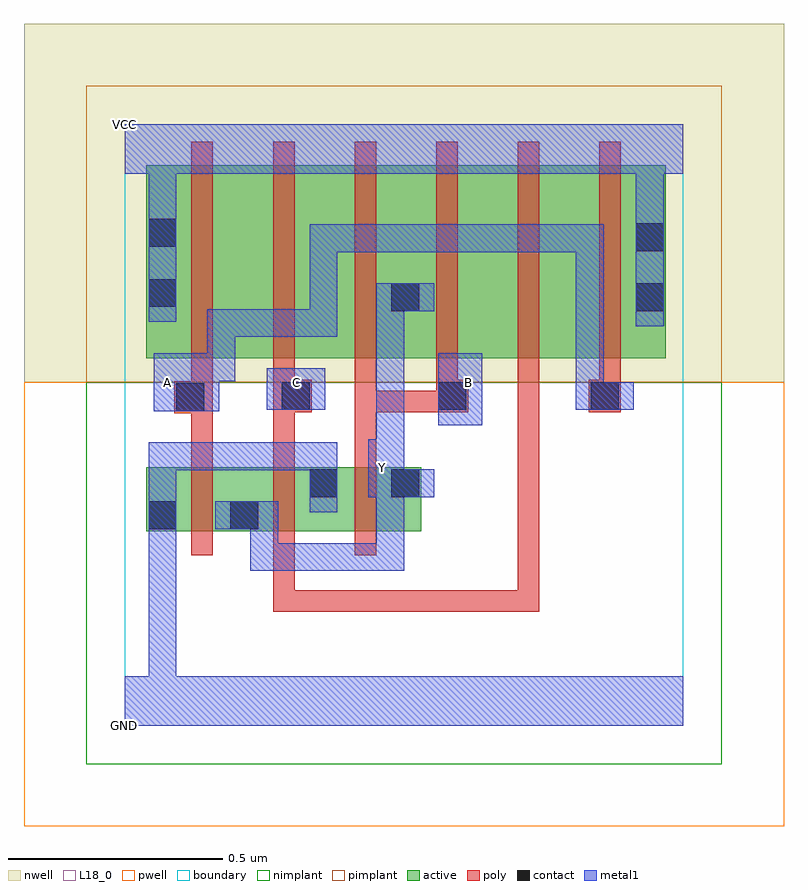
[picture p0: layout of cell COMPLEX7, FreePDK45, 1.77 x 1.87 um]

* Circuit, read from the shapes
.subckt COMPLEX7 A B C GND VCC Y
M1 Y A GND VSUBS nfet w=0.15u l=0.05u
M2 GND C Y VSUBS nfet w=0.15u l=0.05u
M3 Y B GND VSUBS nfet w=0.15u l=0.05u
M4 n1 A VCC n2 pfet w=0.45u l=0.05u
M5 n3 C n1 n2 pfet w=0.45u l=0.05u
M6 Y B n3 n2 pfet w=0.45u l=0.05u
M7 n4 B Y n2 pfet w=0.45u l=0.05u
M8 n5 C n4 n2 pfet w=0.45u l=0.05u
M9 VCC A n5 n2 pfet w=0.45u l=0.05u
.ends

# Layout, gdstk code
import gdstk
lib = gdstk.Library(unit=1e-6, precision=1e-09)
def R(c, l, rs):  # rectangles x0, y0, x1, y1
    for r in rs: c.add(gdstk.rectangle(r[:2], r[2:], *l))
def A(c, l, x, y, w, h, nx, ny, dx, dy):  # array of equal rectangles
    R(c, l, [(x+i*dx, y+j*dy, x+i*dx+w, y+j*dy+h) for i in range(nx) for j in range(ny)])
active = (1, 0)
pwell = (2, 0)
nwell = (3, 0)
nimplant = (4, 0)
pimplant = (5, 0)
poly = (9, 0)
contact = (10, 0)
metal1 = (11, 0)
L18_0 = (18, 0)
boundary = (235, 0)

complex7 = lib.new_cell('COMPLEX7')
R(complex7, active, [(0.05,0.452,0.315,0.602), (0.05,0.452,0.125,0.602), (0.24,0.452,0.5,0.602), (0.24,0.452,0.315,0.547), (0.425,0.452,0.69,0.602), (0.425,0.527,0.5,0.602), (0.615,0.527,0.69,0.602), (0.05,0.855,0.125,1.305), (0.05,0.855,0.275,1.305), (0.275,0.855,0.465,1.305), (0.465,0.855,0.69,1.305), (0.615,0.855,0.845,1.305), (0.845,0.855,1.035,1.305), (1.035,0.855,1.26,1.305), (1.185,0.855,1.26,1.305), (0.615,0.857,0.69,1.07)])
R(complex7, pwell, [(-0.235,-0.235,1.535,0.8)])
R(complex7, nwell, [(-0.235,0.8,1.535,1.635)])
R(complex7, nimplant, [(-0.09,-0.09,1.39,0.8)])
R(complex7, pimplant, [(-0.09,0.8,1.39,1.49)])
A(complex7, poly, 0.155, 0.397, 0.05, 0.26, 3, 1, 0.19, 0)
A(complex7, poly, 0.345, 0.755, 0.05, 0.095, 3, 1, 0.38, 0)
A(complex7, poly, 0.155, 0.8, 0.05, 0.56, 6, 1, 0.19, 0)
R(complex7, poly, [(0.345,0.265,0.395,0.315), (0.345,0.265,0.395,0.315), (0.345,0.265,0.395,0.315), (0.345,0.265,0.567,0.315), (0.345,0.265,0.395,0.447), (0.517,0.265,0.567,0.315), (0.517,0.265,0.567,0.315), (0.517,0.265,0.567,0.315), (0.517,0.265,0.832,0.315), (0.782,0.265,0.832,0.315), (0.782,0.265,0.832,0.315), (0.782,0.265,0.832,0.315), (0.782,0.265,0.965,0.315), (0.915,0.265,0.965,0.85), (0.915,0.265,0.965,0.315), (0.915,0.265,0.965,0.315), (0.915,0.265,0.965,0.315), (0.915,0.265,0.965,0.315), (0.915,0.265,0.965,0.315), (0.915,0.265,0.965,0.315), (0.915,0.265,0.965,0.315), (0.155,0.607,0.205,0.777), (0.345,0.607,0.395,0.78), (0.535,0.607,0.585,0.78), (0.115,0.727,0.205,0.802), (0.345,0.73,0.435,0.805), (0.535,0.73,0.585,0.78), (0.535,0.73,0.585,0.78), (0.535,0.73,0.585,0.78), (0.535,0.73,0.775,0.78), (0.535,0.73,0.585,0.85), (0.725,0.73,0.8,0.805), (1.08,0.73,1.155,0.805), (0.155,0.752,0.205,0.85)])
R(complex7, contact, [(0.055,0.457,0.12,0.522), (0.245,0.457,0.31,0.522), (0.43,0.532,0.495,0.597), (0.62,0.532,0.685,0.597), (0.12,0.732,0.185,0.797), (0.365,0.735,0.43,0.8), (0.73,0.735,0.795,0.8), (1.085,0.735,1.15,0.8), (0.62,0.965,0.685,1.03), (1.19,0.965,1.255,1.03), (0.055,0.975,0.12,1.04), (1.19,1.105,1.255,1.17), (0.055,1.115,0.12,1.18)])
R(complex7, metal1, [(0,0,1.3,0.115), (0.055,0.05,0.12,0.115), (0.055,0.05,0.12,0.115), (0.055,0.05,0.12,0.115), (0.055,0.05,0.12,0.115), (0.055,0.05,0.12,0.115), (0.055,0.05,0.12,0.115), (0.055,0.05,0.12,0.115), (0.055,0.05,0.12,0.115), (0.055,0.05,0.12,0.487), (0.292,0.36,0.482,0.425), (0.292,0.36,0.357,0.522), (0.417,0.36,0.482,0.425), (0.417,0.36,0.65,0.425), (0.585,0.36,0.65,0.425), (0.585,0.36,0.65,0.425), (0.585,0.36,0.65,0.425), (0.585,0.36,0.65,0.597), (0.055,0.422,0.12,0.557), (0.21,0.457,0.345,0.522), (0.28,0.457,0.357,0.522), (0.055,0.492,0.12,0.66), (0.43,0.497,0.495,0.66), (0.567,0.532,0.65,0.667), (0.585,0.532,0.65,0.597), (0.585,0.532,0.72,0.597), (0.055,0.595,0.12,0.66), (0.055,0.595,0.12,0.66), (0.055,0.595,0.12,0.66), (0.055,0.595,0.297,0.66), (0.232,0.595,0.297,0.66), (0.232,0.595,0.495,0.66), (0.43,0.595,0.495,0.66), (0.43,0.595,0.495,0.66), (0.585,0.602,0.65,1.03), (0.73,0.7,0.832,0.867), (0.067,0.732,0.22,0.867), (0.33,0.735,0.467,0.832), (1.05,0.735,1.115,0.8), (1.05,0.735,1.115,0.8), (1.05,0.735,1.185,0.8), (1.05,0.735,1.115,1.167), (0.155,0.802,0.257,0.867), (0.192,0.802,0.257,0.867), (0.192,0.802,0.257,0.97), (0.192,0.905,0.257,0.97), (0.192,0.905,0.495,0.97), (0.43,0.905,0.495,0.97), (0.43,0.905,0.495,0.97), (0.43,0.905,0.495,0.97), (0.43,0.905,0.495,1.167), (1.19,0.93,1.255,1.205), (0.055,0.94,0.12,1.215), (0.585,0.965,0.72,1.03), (0.43,1.102,0.495,1.167), (0.43,1.102,0.632,1.167), (0.567,1.102,0.632,1.167), (0.567,1.102,0.84,1.167), (0.775,1.102,0.84,1.167), (0.775,1.102,0.84,1.167), (0.775,1.102,0.84,1.167), (0.775,1.102,0.977,1.167), (0.912,1.102,0.977,1.167), (0.912,1.102,0.977,1.167), (0.912,1.102,0.977,1.167), (0.912,1.102,0.977,1.167), (0.912,1.102,0.977,1.167), (0.912,1.102,1.115,1.167), (1.05,1.102,1.115,1.167), (1.19,1.14,1.255,1.35), (0.055,1.15,0.12,1.35), (0,1.285,1.3,1.4)])
R(complex7, L18_0, [(0,0,1.3,0.115), (0.055,0.05,0.12,0.115), (0.055,0.05,0.12,0.115), (0.055,0.05,0.12,0.115), (0.055,0.05,0.12,0.115), (0.055,0.05,0.12,0.115), (0.055,0.05,0.12,0.115), (0.055,0.05,0.12,0.115), (0.055,0.05,0.12,0.115), (0.055,0.05,0.12,0.487), (0.292,0.36,0.357,0.522), (0.292,0.36,0.482,0.425), (0.417,0.36,0.482,0.425), (0.417,0.36,0.65,0.425), (0.585,0.36,0.65,0.425), (0.585,0.36,0.65,0.425), (0.585,0.36,0.65,0.425), (0.585,0.36,0.65,0.597), (0.055,0.422,0.12,0.557), (0.21,0.457,0.345,0.522), (0.28,0.457,0.357,0.522), (0.055,0.492,0.12,0.66), (0.43,0.497,0.495,0.66), (0.567,0.532,0.65,0.667), (0.585,0.532,0.65,0.597), (0.585,0.532,0.72,0.597), (0.567,0.567,0.632,0.632), (0.055,0.595,0.12,0.66), (0.055,0.595,0.12,0.66), (0.055,0.595,0.12,0.66), (0.055,0.595,0.297,0.66), (0.232,0.595,0.297,0.66), (0.232,0.595,0.495,0.66), (0.43,0.595,0.495,0.66), (0.43,0.595,0.495,0.66), (0.585,0.602,0.65,1.03), (0.73,0.7,0.832,0.867), (0.067,0.732,0.22,0.867), (0.33,0.735,0.467,0.832), (1.05,0.735,1.115,0.8), (1.05,0.735,1.115,0.8), (1.05,0.735,1.185,0.8), (1.05,0.735,1.115,1.167), (0.067,0.767,0.132,0.832), (0.367,0.767,0.432,0.832), (0.767,0.767,0.832,0.832), (0.155,0.802,0.257,0.867), (0.192,0.802,0.257,0.867), (0.192,0.802,0.257,0.97), (0.192,0.905,0.257,0.97), (0.192,0.905,0.495,0.97), (0.43,0.905,0.495,0.97), (0.43,0.905,0.495,0.97), (0.43,0.905,0.495,0.97), (0.43,0.905,0.495,1.167), (1.19,0.93,1.255,1.205), (0.055,0.94,0.12,1.215), (0.585,0.965,0.72,1.03), (0.43,1.102,0.495,1.167), (0.43,1.102,0.632,1.167), (0.567,1.102,0.632,1.167), (0.567,1.102,0.84,1.167), (0.775,1.102,0.84,1.167), (0.775,1.102,0.84,1.167), (0.775,1.102,0.84,1.167), (0.775,1.102,0.977,1.167), (0.912,1.102,0.977,1.167), (0.912,1.102,0.977,1.167), (0.912,1.102,0.977,1.167), (0.912,1.102,0.977,1.167), (0.912,1.102,0.977,1.167), (0.912,1.102,1.115,1.167), (1.05,1.102,1.115,1.167), (1.19,1.14,1.255,1.35), (0.055,1.15,0.12,1.35), (0,1.285,1.3,1.4)])
R(complex7, boundary, [(0,0,1.3,1.4)])
complex7.add(gdstk.Label('A', (0.1,0.8), layer=11, texttype=0))
complex7.add(gdstk.Label('B', (0.8,0.8), layer=11, texttype=0))
complex7.add(gdstk.Label('C', (0.4,0.8), layer=11, texttype=0))
complex7.add(gdstk.Label('Y', (0.6,0.6), layer=11, texttype=0))
complex7.add(gdstk.Label('VCC', (0,1.4), layer=11, texttype=0))
complex7.add(gdstk.Label('GND', (0,0), layer=11, texttype=0))

lib.write_gds('COMPLEX7.gds')
